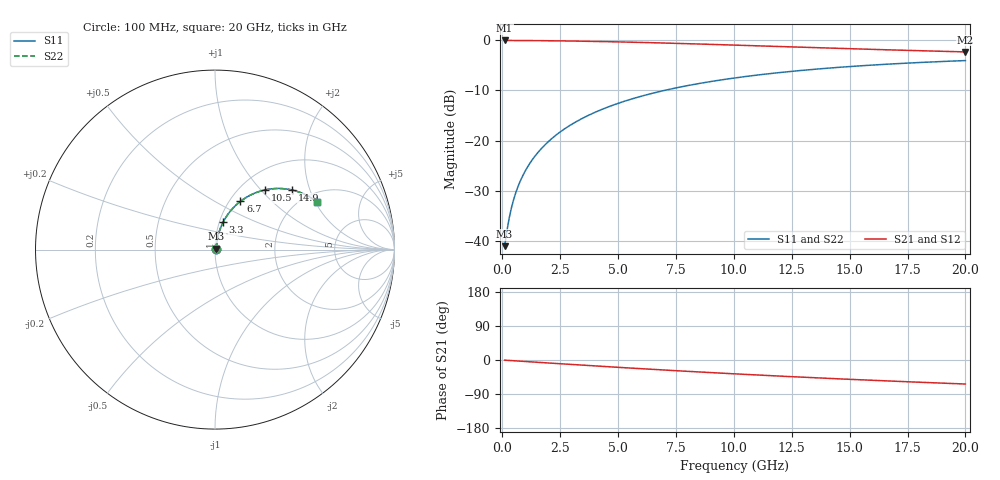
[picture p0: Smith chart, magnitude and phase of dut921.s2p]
! Touchstone file exported from HFSS 2026.1.0
!  File:  C:/ffzhzh/LocalFiles/Ansys_Project_Files/temp_train_BSMRDL_921_1783171761_22436.aedt
!  Generated:  09:30:54 PM Jul  4, 2026
!  Design:  BSMRDL
!  Project:  temp_train_BSMRDL_921_1783171761_22436
! Variables:
!  h_bsmrdl = 3.58um
!  h_ox = 20um
!  h_rdl = 5um
!  h_sub = 80um
!  h_tmrdl = 5um
!  h_tsv = 80um
!  h_via = 3um
!  l_bsmrdl = 951.95um
!  l_sub = 1351.95um
!  l_tmrdl = 200um
!  m_sub = 200um
!  pitch = 49.48um
!  r_tsv = 6um
!  s_tmrdl = 10um
!  w_bsmrdl = 12.88um
!  w_sub = 500um
!  w_tmrdl = 12um
!  x_tsv_center1 = 206um
!  x_tsv_center2 = 1170.83um
!  x_tsv_center3 = 1382.83um
!  x_tsv_center4 = 2347.66um
!  x_tsv_center5 = 2559.66um
!  x_tsv_center6 = 3524.49um
# GHz S MA R 50.000000
! Terminal data exported
! Port[1] = BSM_RDL1_1_T1
! Port[2] = BSM_RDL1_1_T2
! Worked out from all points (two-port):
!   200 points, 100 MHz to 20 GHz, reference 50 ohm
!   highest |S21| = -0.06 dB at 100 MHz (marker M1); lowest = -2.3 dB at 20 GHz (marker M2)
!   |S21| within 3 dB of the highest: start of sweep to end of sweep
!   lowest |S11| = -41.0 dB at 100 MHz (marker M3), VSWR 1.02, Z = 50.7 + j0.516 ohm
!   |S11| at or under -10 dB: start of sweep to 7.012 GHz
!   |S22| runs from -41.0 to -4.1 dB; largest |S21 - S12| = 3.1e-15
!   S11 on the Smith chart (normalised r, x): 100 MHz: 1.01, +0.01; 3.3 GHz: 1.04, +0.33; 6.7 GHz: 1.12, +0.67; 10.5 GHz: 1.29, +1.06; 14.9 GHz: 1.62, +1.53; 20 GHz: 2.34, +2.06
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0.1  0.008898 34.8  0.9927 -0.4  0.9927 -0.4  0.008898 34.8
! Gamma 0 0 0 0
! Port Impedance 50 0 50 0
0.2  0.01261 53.4  0.9926 -0.8  0.9926 -0.8  0.01261 53.4
0.3  0.01702 62.6  0.9924 -1.2  0.9924 -1.2  0.01702 62.6
0.4  0.02166 67.7  0.9921 -1.6  0.9921 -1.6  0.02166 67.7
0.5  0.02638 70.8  0.9919 -2.0  0.9919 -2.0  0.02638 70.8
0.8  0.0407 75.3  0.9911 -3.2  0.9911 -3.2  0.0407 75.2
1.1  0.0551 76.9  0.9901 -4.4  0.9901 -4.4  0.0551 76.9
1.5  0.07432 77.4  0.9886 -6.0  0.9886 -6.0  0.07432 77.4
2  0.09825 76.9  0.9863 -7.9  0.9863 -7.9  0.09825 76.9
2.6  0.1267 75.5  0.9827 -10.3  0.9827 -10.3  0.1267 75.5
3.3  0.1593 73.5  0.9775 -12.9  0.9775 -12.9  0.1593 73.5
3.5  0.1684 72.9  0.9758 -13.7  0.9758 -13.7  0.1684 72.9
4.9  0.2305 68.3  0.962 -19.0  0.962 -19.0  0.2305 68.3
6.7  0.3042 62.2  0.94 -25.5  0.94 -25.5  0.3042 62.1
6.8  0.3081 61.8  0.9387 -25.8  0.9387 -25.8  0.3081 61.8
8.3  0.3632 56.9  0.9179 -30.9  0.9179 -30.9  0.3632 56.9
10.1  0.4222 51.2  0.8916 -36.8  0.8916 -36.8  0.4222 51.2
10.5  0.4343 50.0  0.8857 -38.0  0.8857 -38.0  0.4343 50.0
13.4  0.511 41.7  0.8436 -46.6  0.8436 -46.6  0.511 41.6
14.9  0.5437 37.6  0.823 -50.7  0.823 -50.7  0.5437 37.6
16.7  0.5776 33.0  0.8001 -55.4  0.8001 -55.4  0.5776 33.0
20  0.626 25.2  0.7638 -63.4  0.7638 -63.4  0.626 25.2
